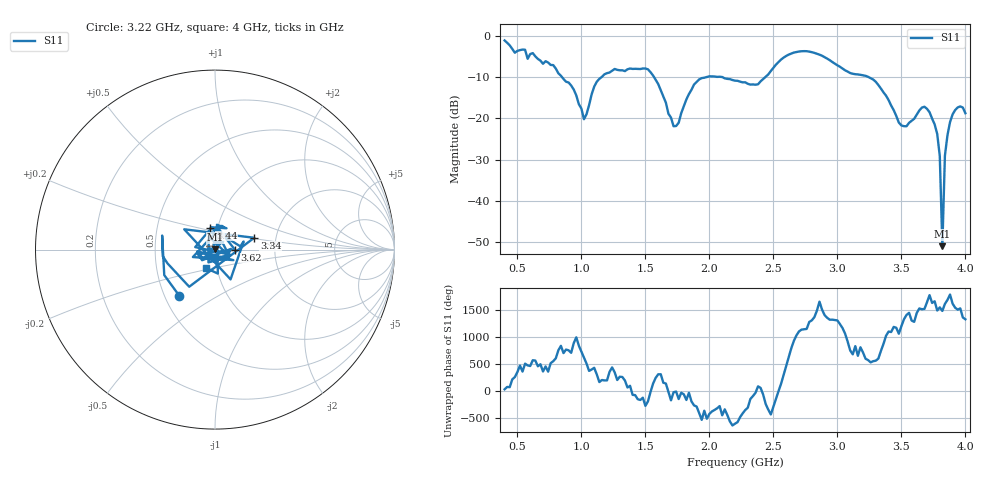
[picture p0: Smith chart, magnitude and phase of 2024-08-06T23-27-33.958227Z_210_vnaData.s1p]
!Created with skrf (http://scikit-rf.org).
# Hz S RI R 50.0
!freq ReS11 ImS11
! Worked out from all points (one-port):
!   181 points, 400 MHz to 4 GHz, reference 50 ohm
!   lowest |S11| = -51.0 dB at 3.82 GHz (marker M1), VSWR 1.01, Z = 50.2 + j0.175 ohm
!   |S11| at or under -10 dB: 1.566 GHz to 1.985 GHz (419.2 MHz wide, 23.6 % of centre); 2.088 GHz to 2.44 GHz (351.9 MHz wide, 15.5 % of centre); 3.24 GHz to end of sweep (the widest 3 of 5)
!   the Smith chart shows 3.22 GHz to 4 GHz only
!   S11 on the Smith chart (normalised r, x): 3.22 GHz: 0.60, -0.34; 3.34 GHz: 1.54, +0.21; 3.44 GHz: 0.92, +0.23; 3.62 GHz: 1.25, -0.00; 4 GHz: 0.88, -0.18
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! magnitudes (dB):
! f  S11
! 400 MHz  -1.2
! 860 MHz  -10.5
! 940 MHz  -13.1
! 1.02 GHz  -20.3
! 1.12 GHz  -11.2
! 1.3 GHz  -8.4
! 1.52 GHz  -8.2
! 1.72 GHz  -21.9
! 1.76 GHz  -21.1
! 1.92 GHz  -10.6
! 2.2 GHz  -10.9
! 2.38 GHz  -11.8
! 2.66 GHz  -4.1
! 3.1 GHz  -9.1
! 3.22 GHz  -9.8
! 3.34 GHz  -12.8
! 3.44 GHz  -18.1
! 3.5 GHz  -21.8
! 3.56 GHz  -21.1
! 3.62 GHz  -19.1
! 3.7 GHz  -17.7
! 3.78 GHz  -23.8
! 3.8 GHz  -29.2
! 3.82 GHz  -51.0
! 3.84 GHz  -29.1
! 3.86 GHz  -24.1
! 3.92 GHz  -18.0
! 4 GHz  -18.8
